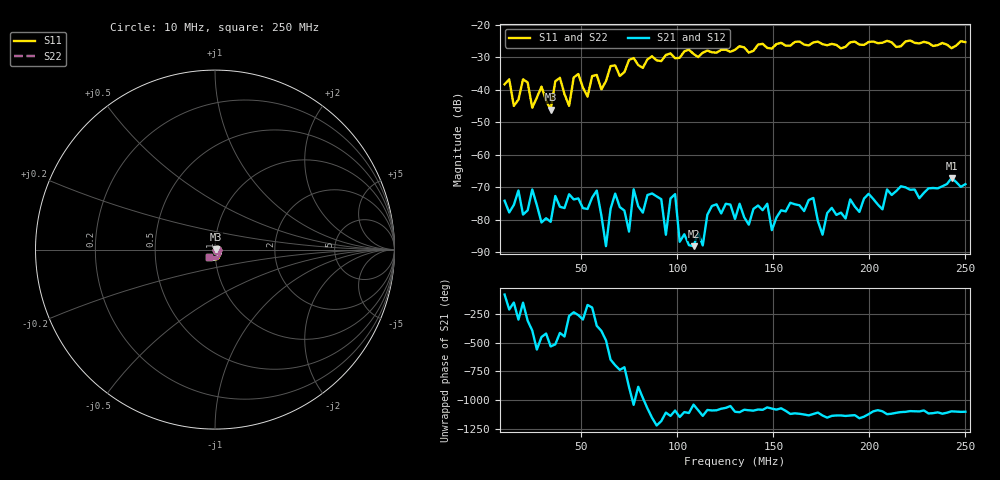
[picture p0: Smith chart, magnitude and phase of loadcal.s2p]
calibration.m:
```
% script matrix1

% port impedance
Z0 = 50 + 0j;

% common functions
addpath("../RFlib")


tsm = touchstoneread('offsetshort.s2p');

tso = touchstoneread('opencal.s2p');
tsos = touchstoneread('offsetshortcal.s2p');
tss = touchstoneread('shortcal.s2p');
tsl = touchstoneread('loadcal.s2p');

ts = tsm;

%%%%%%%%%%%%%%%%%%%%%%%%%
% OPEN, SHORT, LOAD

for fp = 1:length(ts.points)
    f = ts.points(fp).f;
    Sm = tsm.points(fp).S(1,1);

    So = tso.points(fp).S(1,1);
    Ss = tss.points(fp).S(1,1);
    Sl = tsl.points(fp).S(1,1);
    S = zeros(2);
    S(1,1) = p1cal(Sm, So, Ss, Sl, 1, -1, 0);
    S(2,1) = 1;
    S(1,2) = 1;
    S(2,2) = 0;

    ts.points(fp).S = S;

end

plot1port(ts, 64);

pause();

%%%%%%%%%%%%%%%%%%%%%%%%%
% OFFSET SHORT, SHORT, LOAD

for fp = 1:length(ts.points)
    f = ts.points(fp).f;
    Sm = tsm.points(fp).S(1,1);

    % Building an offset short model
    Mosmodel = TLineMatrix(Z0, f2rad(f, 161.2e+6) / 4);
    Mosmodel = Mosmodel * ShuntImpedanceMatrix(1e-9);
    Mosmodel = Mosmodel * SeriesImpedanceMatrix(9e9);
    Sosmodel = abcd2s(Mosmodel, Z0);
    Gosmodel = Sosmodel(1,1);

    Sos = tsos.points(fp).S(1,1);
    Ss = tss.points(fp).S(1,1);
    Sl = tsl.points(fp).S(1,1);

    S = zeros(2);
    S(1,1) = p1cal(Sm, Sos, Ss, Sl, Gosmodel, -1, 0);
    S(2,1) = 1;
    S(1,2) = 1;
    S(2,2) = 0;

    ts.points(fp).S = S;

end

plot1port(ts, 64);

pause();
```
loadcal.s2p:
# Hz S RI R 50
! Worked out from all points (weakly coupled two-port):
!   101 points, 10 MHz to 250 MHz, reference 50 ohm
!   highest |S21| = -67.14 dB at 242.8 MHz (marker M1); lowest = -88.1 dB at 108.4 MHz (marker M2)
!   lowest |S11| = -46.0 dB at 34 MHz (marker M3), VSWR 1.01, Z = 50.4 + j0.271 ohm
!   |S11| at or under -10 dB: start of sweep to end of sweep
!   |S22| runs from -46.0 to -24.8 dB; largest |S21 - S12| = 0
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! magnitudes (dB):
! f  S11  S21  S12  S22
! 10 MHz  -38.3  -74.1  -74.1  -38.3
! 34 MHz  -46.0  -80.6  -80.6  -46.0
! 36.4 MHz  -37.3  -72.6  -72.6  -37.3
! 43.6 MHz  -44.9  -72.1  -72.1  -44.9
! 58 MHz  -35.4  -71.0  -71.0  -35.4
! 74.8 MHz  -30.7  -83.6  -83.6  -30.7
! 77.2 MHz  -30.2  -70.6  -70.6  -30.2
! 108.4 MHz  -28.9  -88.1  -88.1  -28.9
! 130 MHz  -27.7  -79.7  -79.7  -27.7
! 242.8 MHz  -27.2  -67.1  -67.1  -27.2
! 250 MHz  -25.3  -69.0  -69.0  -25.3
